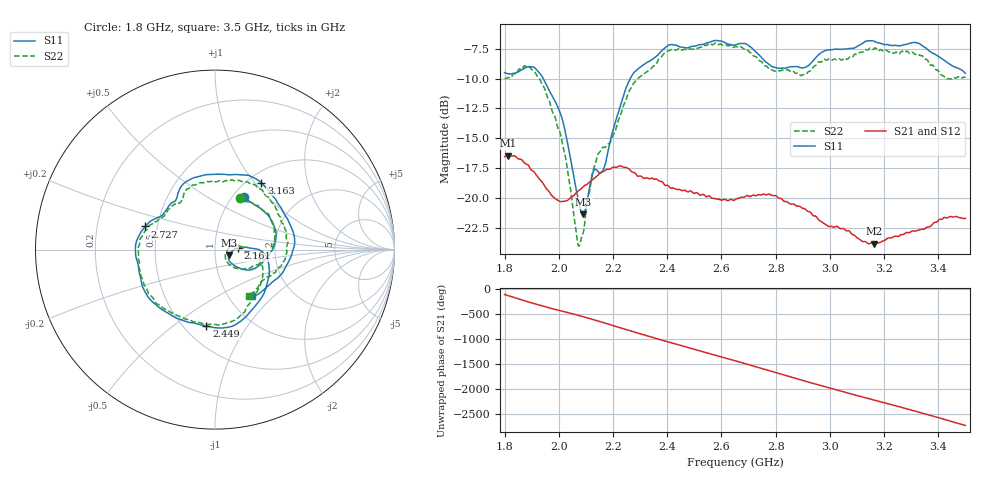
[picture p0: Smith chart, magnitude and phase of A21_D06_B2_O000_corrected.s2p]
! Created with skrf 1.9.0 (http://scikit-rf.org).
# Hz S RI R 50.0
!freq ReS11 ImS11 ReS21 ImS21 ReS12 ImS12 ReS22 ImS22
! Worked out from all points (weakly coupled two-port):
!   1601 points, 1.8 GHz to 3.5 GHz, reference 50 ohm
!   highest |S21| = -16.45 dB at 1.812 GHz (marker M1); lowest = -23.8 dB at 3.164 GHz (marker M2)
!   lowest |S11| = -21.4 dB at 2.09 GHz (marker M3), VSWR 1.19, Z = 58.5 - j3.71 ohm
!   |S11| at or under -10 dB: 1.943 GHz to 2.263 GHz (320.7 MHz wide, 15.2 % of centre)
!   |S22| runs from -24.0 to -7.0 dB; largest |S21 - S12| = 0.0024
!   S11 on the Smith chart (normalised r, x): 1.8 GHz: 1.13, +0.74; 2.161 GHz: 1.30, +0.02; 2.449 GHz: 0.64, -0.67; 2.727 GHz: 0.43, +0.13; 3.163 GHz: 1.15, +1.08; 3.5 GHz: 1.28, -0.75
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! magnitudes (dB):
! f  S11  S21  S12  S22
! 1.8 GHz  -9.5  -16.5  -16.5  -10.0
! 1.812 GHz  -9.6  -16.4  -16.5  -9.9
! 1.88 GHz  -9.0  -17.2  -17.2  -9.0
! 1.942 GHz  -10.0  -18.8  -18.8  -10.6
! 2.013 GHz  -13.4  -20.3  -20.3  -15.4
! 2.068 GHz  -19.7  -19.5  -19.5  -23.5
! 2.084 GHz  -21.2  -19.2  -19.1  -23.3
! 2.09 GHz  -21.4  -19.1  -19.1  -22.9
! 2.128 GHz  -17.7  -18.4  -18.4  -17.5
! 2.161 GHz  -17.8  -17.8  -17.7  -15.8
! 2.26 GHz  -10.2  -17.6  -17.6  -11.0
! 2.367 GHz  -8.0  -18.5  -18.5  -8.4
! 2.449 GHz  -7.4  -19.3  -19.3  -7.6
! 2.65 GHz  -7.2  -20.1  -20.1  -7.3
! 2.727 GHz  -7.8  -19.8  -19.8  -8.2
! 2.805 GHz  -9.1  -19.9  -19.9  -9.3
! 2.934 GHz  -8.6  -21.4  -21.3  -9.2
! 3.163 GHz  -6.9  -23.8  -23.8  -7.5
! 3.164 GHz  -6.9  -23.8  -23.8  -7.5
! 3.217 GHz  -7.2  -23.3  -23.3  -7.8
! 3.325 GHz  -7.0  -22.7  -22.7  -7.9
! 3.5 GHz  -9.6  -21.7  -21.7  -9.9
